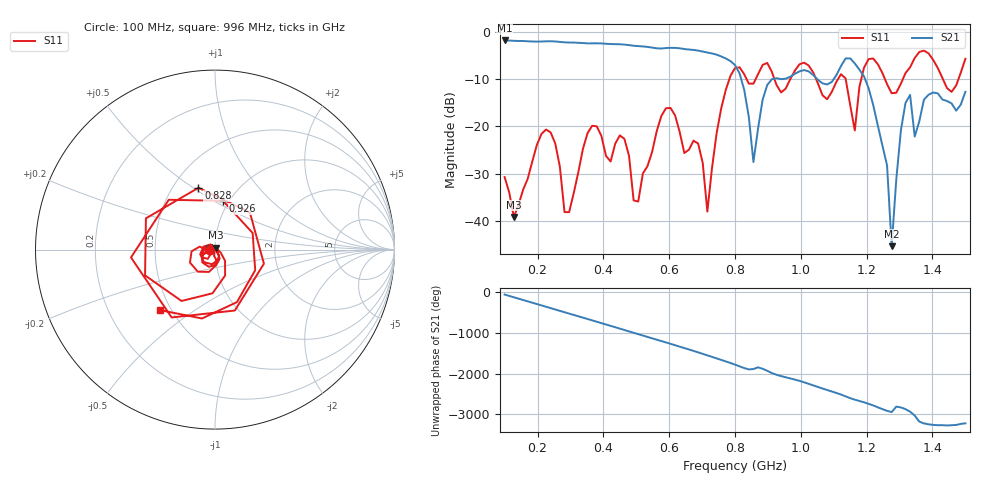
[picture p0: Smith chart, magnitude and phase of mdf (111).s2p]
! NanoVNA-App
! Date: 2025-09-25 17:41:50
! Start: 100MHz Stop: 1,5GHz Points: 101
! S-Parameter data: F S11 S21 S12 S22
# Hz S RI R 50
!  Frequency  S11_Real  S11_Imag  S21_Real  S21_Imag  S12_Real  S12_Imag  S22_Real  S22_Imag
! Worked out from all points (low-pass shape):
!   101 points, 100 MHz to 1.5 GHz, reference 50 ohm
!   highest |S21| = -1.80 dB at 100 MHz (marker M1); lowest = -45.3 dB at 1.276 GHz (marker M2)
!   |S21| within 3 dB of the highest: start of sweep to 744 MHz
!   lowest |S11| = -39.2 dB at 128 MHz (marker M3), VSWR 1.02, Z = 50.3 + j1.05 ohm
!   |S11| at or under -10 dB: start of sweep to 782.8 MHz; 1.046 GHz to 1.113 GHz (66.36 MHz wide, 6.15 % of centre); 1.256 GHz to 1.31 GHz (54.17 MHz wide, 4.22 % of centre)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
!   S12 and S22 are empty: the file has one direction only
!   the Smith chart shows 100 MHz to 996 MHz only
!   S11 on the Smith chart (normalised r, x): 100 MHz: 0.94, -0.01; 828 MHz: 0.67, +0.53; 926 MHz: 0.94, +0.55; 996 MHz: 0.44, -0.37
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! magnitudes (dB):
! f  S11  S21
! 100 MHz  -30.7  -1.8
! 128 MHz  -39.2  -1.9
! 212 MHz  -21.6  -2.0
! 282 MHz  -38.1  -2.2
! 338 MHz  -24.7  -2.3
! 464 MHz  -22.6  -2.7
! 506 MHz  -35.9  -3.0
! 576 MHz  -17.8  -3.5
! 688 MHz  -23.6  -3.9
! 716 MHz  -38.0  -4.3
! 800 MHz  -7.6  -7.0
! 828 MHz  -9.0  -12.3
! 856 MHz  -10.9  -27.5
! 926 MHz  -11.2  -9.8
! 996 MHz  -6.8  -8.3
! 1.038 GHz  -8.6  -9.1
! 1.164 GHz  -20.8  -6.7
! 1.192 GHz  -7.5  -9.4
! 1.262 GHz  -11.0  -28.2
! 1.276 GHz  -13.0  -45.3
! 1.318 GHz  -8.7  -15.0
! 1.5 GHz  -5.7  -12.7
